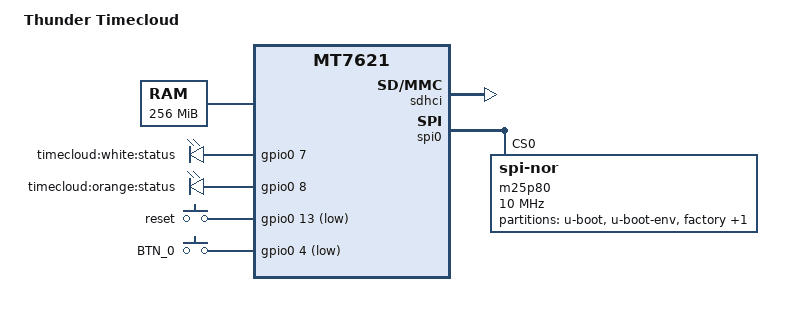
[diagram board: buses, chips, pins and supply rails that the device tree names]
/dts-v1/;

#include "mt7621.dtsi"

#include <dt-bindings/gpio/gpio.h>
#include <dt-bindings/input/input.h>

/ {
	compatible = "thunder,timecloud", "mediatek,mt7621-soc";
	model = "Thunder Timecloud";

	aliases {
		led-boot = &led_statuso;
		led-failsafe = &led_statuso;
		led-running = &led_statuso;
		led-upgrade = &led_statuso;
	};

	memory@0 {
		device_type = "memory";
		reg = <0x0 0x10000000>;
	};

	chosen {
		bootargs = "console=ttyS0,115200";
	};

	gpio-leds {
		compatible = "gpio-leds";

		statw {
			label = "timecloud:white:status";
			gpios = <&gpio0 7 GPIO_ACTIVE_HIGH>;
		};

		led_statuso: stato {
			label = "timecloud:orange:status";
			gpios = <&gpio0 8 GPIO_ACTIVE_HIGH>;
		};
	};

	gpio-keys-polled {
		compatible = "gpio-keys-polled";
		poll-interval = <20>;

		reset {
			label = "reset";
			gpios = <&gpio0 13 GPIO_ACTIVE_LOW>;
			linux,code = <KEY_RESTART>;
		};

		BTN_0 {
			label = "BTN_0";
			gpios = <&gpio0 4 GPIO_ACTIVE_LOW>;
			linux,code = <BTN_0>;
		};
	};
};

&sdhci {
	status = "okay";
};

&spi0 {
	status = "okay";

	m25p80@0 {
		compatible = "jedec,spi-nor";
		reg = <0>;
		spi-max-frequency = <10000000>;
		m25p,chunked-io = <32>;

		partitions {
			compatible = "fixed-partitions";
			#address-cells = <1>;
			#size-cells = <1>;

			partition@0 {
				label = "u-boot";
				reg = <0x0 0x30000>;
				read-only;
			};

			partition@30000 {
				label = "u-boot-env";
				reg = <0x30000 0x10000>;
				read-only;
			};

			factory: partition@40000 {
				label = "factory";
				reg = <0x40000 0x10000>;
				read-only;
			};

			partition@50000 {
				label = "firmware";
				reg = <0x50000 0xfb0000>;
			};
		};
	};
};

&ethernet {
	mtd-mac-address = <&factory 0xe000>;
};

&pinctrl {
	state_default: pinctrl0 {
		gpio {
			ralink,group = "i2c", "uart2", "jtag";
			ralink,function = "gpio";
		};
	};
};
